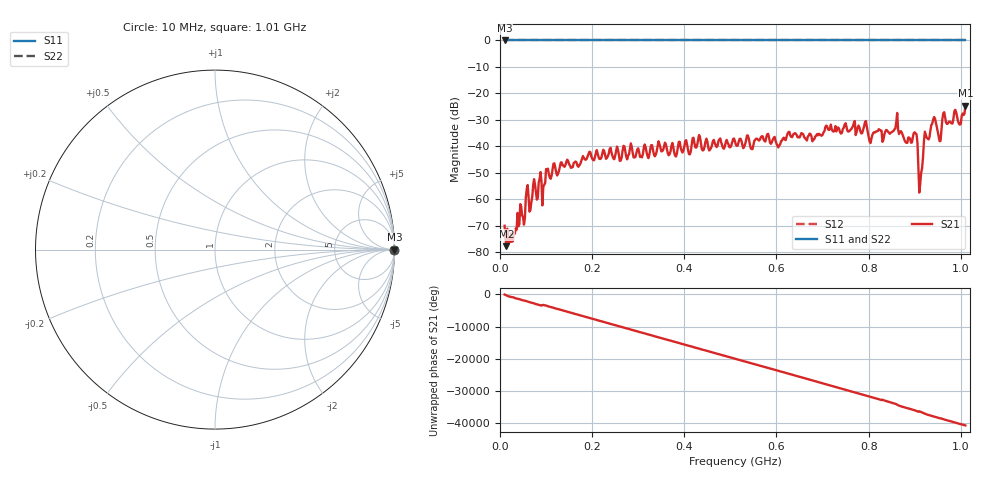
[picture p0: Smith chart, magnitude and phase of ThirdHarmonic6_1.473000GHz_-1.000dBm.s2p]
! 8/16/2025 5:11:06 PM
! C:\ANRITSUVNA\TEMP\TEMP.S2P
! CHANNEL.1
! TR.MEASUREMENT
! RAW.DATA
! RF.CORRECTION.OFF
! AVERAGING.OFF
! IF.BANDWIDTH: 5KHZ
! SWEEPTYPE:  FREQ.SWEEP(Linear)
! Reference Plane Port Info
! PORT:  PORT1  PORT2
! DISTANCE:  0  m  0  m
! TIME:  0  s  0  s
! PHASE.OFFSET:  0  deg.  0  deg.
! LOSS:  0  dB  0  dB
! REF.LOSS:  0  dB  0  dB
! REF.FREQ:  0  Hz  0  Hz
! Power Info
! POWER:  -20  dBm  -20  dBm
! EFF.POWER:  -20  dBm  -20  dBm
! SOURCE.ATTEN:  0  dB  0  dB
! TEST.ATTEN:  0  dB  0  dB
# GHZ S RI R 50.0
! FREQ.GHZ  S11RE  S11IM  S21RE  S21IM  S12RE  S12IM  S22RE  S22IM
!; PortSelection: Port_12
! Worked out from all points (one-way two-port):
!   501 points, 10 MHz to 1.01 GHz, reference 50 ohm
!   highest |S21| = -24.61 dB at 1.01 GHz (marker M1); lowest = -77.6 dB at 14 MHz (marker M2)
!   lowest |S11| = 0.0 dB at 10 MHz (marker M3)
!   |S11| at or under -10 dB: nowhere
!   |S22| runs from 0.0 to 0.0 dB; largest |S21 - S12| = 1
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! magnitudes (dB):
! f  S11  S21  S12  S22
! 10 MHz  0.0  -69.9  0.0  0.0
! 14 MHz  0.0  -77.6  0.0  0.0
! 30 MHz  0.0  -73.1  0.0  0.0
! 58 MHz  0.0  -56.1  0.0  0.0
! 94 MHz  0.0  -55.1  0.0  0.0
! 104 MHz  0.0  -48.4  0.0  0.0
! 178 MHz  0.0  -44.5  0.0  0.0
! 344 MHz  0.0  -38.0  0.0  0.0
! 510 MHz  0.0  -38.2  0.0  0.0
! 678 MHz  0.0  -38.1  0.0  0.0
! 766 MHz  0.0  -32.3  0.0  0.0
! 794 MHz  0.0  -30.4  0.0  0.0
! 804 MHz  0.0  -38.7  0.0  0.0
! 844 MHz  0.0  -34.7  0.0  0.0
! 902 MHz  0.0  -35.1  0.0  0.0
! 912 MHz  0.0  -54.1  0.0  0.0
! 922 MHz  0.0  -34.4  0.0  0.0
! 940 MHz  0.0  -30.0  0.0  0.0
! 954 MHz  0.0  -38.0  0.0  0.0
! 964 MHz  0.0  -27.1  0.0  0.0
! 998 MHz  0.0  -31.8  0.0  0.0
! 1.01 GHz  0.0  -24.6  0.0  0.0
